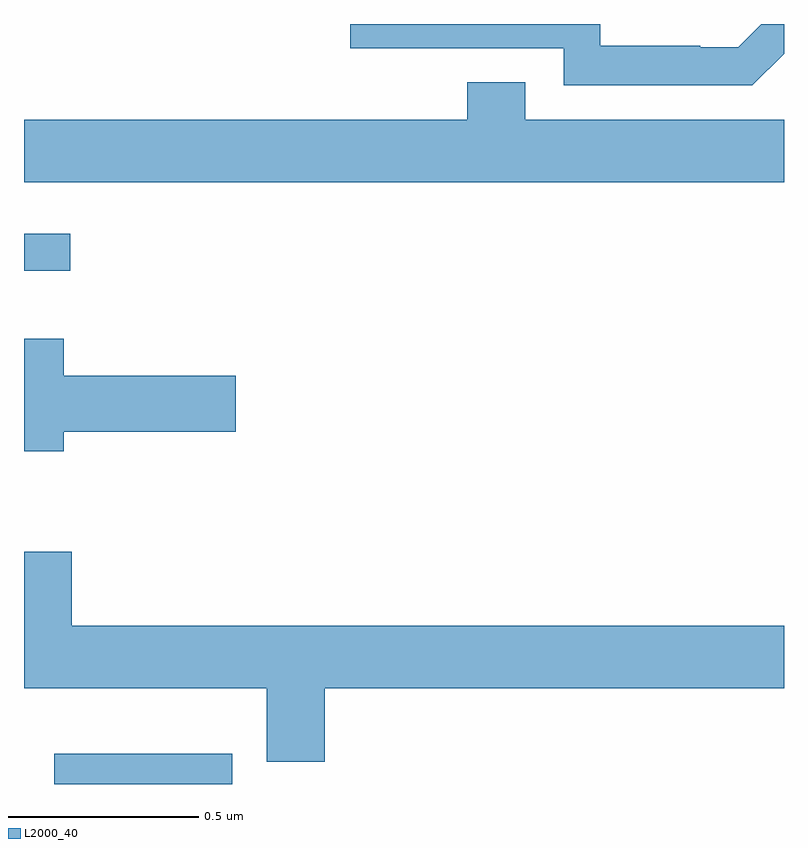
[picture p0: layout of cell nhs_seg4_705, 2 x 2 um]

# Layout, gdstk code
import gdstk
lib = gdstk.Library(unit=1e-6, precision=1e-09)
def R(c, l, rs):  # rectangles x0, y0, x1, y1
    for r in rs: c.add(gdstk.rectangle(r[:2], r[2:], *l))
def P(c, l, *ps):  # polygons
    for p in ps: c.add(gdstk.Polygon(p, *l))
L2000_40 = (2000, 40)

nhs_seg4_705 = lib.new_cell('nhs_seg4_705')
R(nhs_seg4_705, L2000_40, [(119.079,797.9,119.548,797.98), (119,799.251,119.122,799.348)])
P(nhs_seg4_705, L2000_40, [(121,799.822),(121,799.9),(120.94,799.9),(120.879,799.839),(120.779,799.839),(120.779,799.843),(120.516,799.843),(120.516,799.9),(119.859,799.9),(119.859,799.836),(120.42,799.836),(120.42,799.739),(120.917,799.739)],
  [(121,799.648),(120.319,799.648),(120.319,799.747),(120.167,799.747),(120.167,799.648),(119,799.648),(119,799.484),(121,799.484)],
  [(119.104,798.827),(119.557,798.827),(119.557,798.974),(119.104,798.974),(119.104,799.072),(119,799.072),(119,798.776),(119.104,798.776)],
  [(119.792,798.152),(121,798.152),(121,798.316),(119.126,798.316),(119.126,798.511),(119,798.511),(119,798.152),(119.639,798.152),(119.639,797.958),(119.792,797.958)])

lib.write_gds('nhs_seg4_705.gds')
